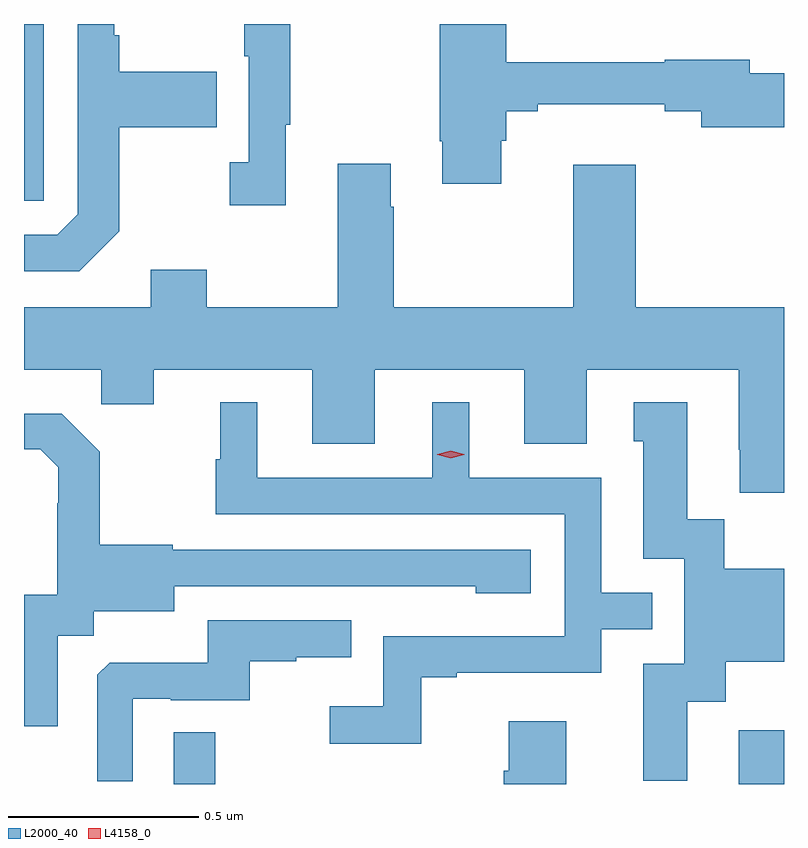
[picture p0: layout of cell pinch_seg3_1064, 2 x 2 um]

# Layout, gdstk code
import gdstk
lib = gdstk.Library(unit=1e-6, precision=1e-09)
def R(c, l, rs):  # rectangles x0, y0, x1, y1
    for r in rs: c.add(gdstk.rectangle(r[:2], r[2:], *l))
def P(c, l, *ps):  # polygons
    for p in ps: c.add(gdstk.Polygon(p, *l))
L2000_40 = (2000, 40)
L4158_0 = (4158, 0)

pinch_seg3_1064 = lib.new_cell('pinch_seg3_1064')
R(pinch_seg3_1064, L2000_40, [(355.764,745.114,355.873,745.25), (357.251,745.114,357.37,745.255), (355.37,746.649,355.422,747.114)])
P(pinch_seg3_1064, L2000_40, [(356.626,746.807),(356.639,746.807),(356.639,746.884),(356.722,746.884),(356.722,746.903),(357.056,746.903),(357.056,746.884),(357.152,746.884),(357.152,746.842),(357.37,746.842),(357.37,746.984),(357.28,746.984),(357.28,747.02),(357.056,747.02),(357.056,747.013),(356.639,747.013),(356.639,747.114),(356.464,747.114),(356.464,746.806),(356.471,746.806),(356.471,746.694),(356.626,746.694)],
  [(356.059,746.849),(356.071,746.849),(356.071,747.114),(355.95,747.114),(355.95,747.029),(355.962,747.029),(355.962,746.75),(355.911,746.75),(355.911,746.637),(356.059,746.637)],
  [(355.621,746.569),(355.621,746.842),(355.877,746.842),(355.877,746.989),(355.621,746.989),(355.621,747.085),(355.608,747.085),(355.608,747.114),(355.512,747.114),(355.512,746.613),(355.458,746.559),(355.37,746.559),(355.37,746.463),(355.515,746.463)],
  [(357.37,746.368),(356.98,746.368),(356.98,746.743),(356.816,746.743),(356.816,746.368),(356.343,746.368),(356.343,746.633),(356.335,746.633),(356.335,746.746),(356.195,746.746),(356.195,746.368),(355.851,746.368),(355.851,746.467),(355.703,746.467),(355.703,746.368),(355.37,746.368),(355.37,746.204),(355.573,746.204),(355.573,746.114),(355.711,746.114),(355.711,746.204),(356.129,746.204),(356.129,746.01),(356.293,746.01),(356.293,746.204),(356.687,746.204),(356.687,746.01),(356.851,746.01),(356.851,746.204),(357.251,746.204),(357.251,745.993),(357.254,745.993),(357.254,745.881),(357.37,745.881)],
  [(356.415,745.395),(356.509,745.395),(356.509,745.407),(356.889,745.407),(356.889,745.521),(357.023,745.521),(357.023,745.617),(356.889,745.617),(356.889,745.92),(356.542,745.92),(356.542,746.119),(356.444,746.119),(356.444,745.92),(355.984,745.92),(355.984,746.119),(355.886,746.119),(355.886,745.968),(355.875,745.968),(355.875,745.824),(356.793,745.824),(356.793,745.503),(356.316,745.503),(356.316,745.318),(356.175,745.318),(356.175,745.22),(356.415,745.22)],
  [(357.115,745.33),(357.217,745.33),(357.217,745.436),(357.37,745.436),(357.37,745.681),(357.213,745.681),(357.213,745.811),(357.115,745.811),(357.115,746.119),(356.975,746.119),(356.975,746.016),(356.999,746.016),(356.999,745.707),(357.108,745.707),(357.108,745.431),(356.999,745.431),(356.999,745.122),(357.115,745.122)],
  [(355.459,745.504),(355.554,745.504),(355.554,745.568),(355.765,745.568),(355.765,745.635),(356.323,745.635),(356.323,745.634),(356.559,745.634),(356.559,745.616),(356.704,745.616),(356.704,745.731),(355.761,745.731),(355.761,745.744),(355.569,745.744),(355.569,745.989),(355.469,746.089),(355.37,746.089),(355.37,745.995),(355.413,745.995),(355.46,745.948),(355.46,745.853),(355.458,745.853),(355.458,745.612),(355.37,745.612),(355.37,745.266),(355.459,745.266)],
  [(355.656,745.338),(355.756,745.338),(355.756,745.335),(355.964,745.335),(355.964,745.437),(356.087,745.437),(356.087,745.448),(356.231,745.448),(356.231,745.545),(355.854,745.545),(355.854,745.433),(355.595,745.433),(355.563,745.401),(355.563,745.121),(355.656,745.121)],
  [(356.797,745.279),(356.645,745.279),(356.645,745.149),(356.633,745.149),(356.633,745.114),(356.797,745.114)])
P(pinch_seg3_1064, L4158_0, [(356.493,745.971),(356.457,745.981),(356.457,745.981),(356.457,745.982),(356.493,745.991),(356.529,745.982),(356.529,745.981),(356.529,745.981)])

lib.write_gds('pinch_seg3_1064.gds')
